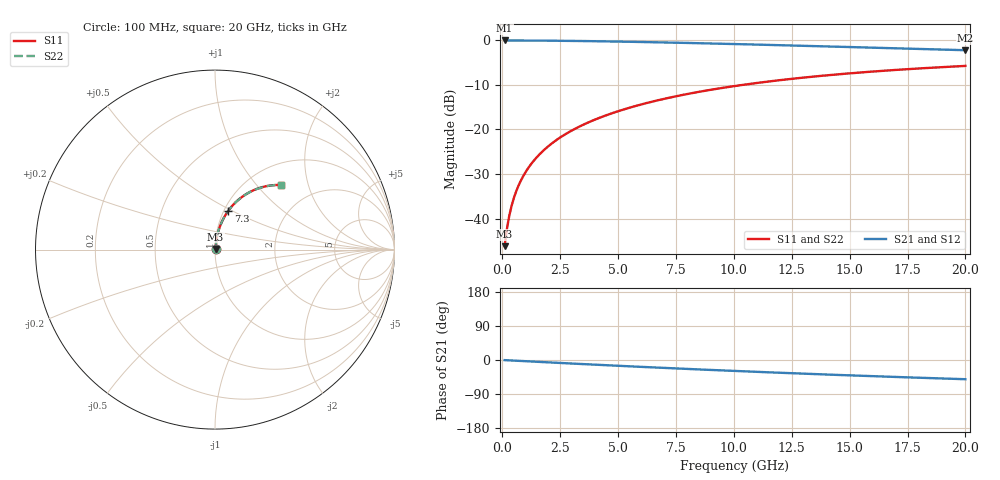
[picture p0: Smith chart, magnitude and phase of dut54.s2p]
! Touchstone file exported from HFSS 2024.1.0
!  File:  C:/UserFiles/LocalFiles/RDL_TSV_Batchsim/temp_RDL_top_54_1778681469.aedt
!  Generated:  10:13:28 PM May 13, 2026
!  Design:  RDL_top
!  Project:  temp_RDL_top_54_1778681469
!  Setup:  Setup1
!  Solution:  Sweep
! Variables:
!  dtsv = 10.80580581um
!  hbump = 3um
!  htsv = 61.1um
!  ldown = 100um
!  lrdl = 693.15um
!  p = 40
!  p1 = 55.35um
!  rhole = 1um
!  t = 450um
!  tdown = 3.915915916um
!  trdl = 4.98um
!  wdown = 15.38538539um
!  wrdl = 14.21um
# GHz S MA R 50.000000
! Terminal data exported
! Port[1] = Box2_T1
! Port[2] = Box2_T2
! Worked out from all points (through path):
!   200 points, 100 MHz to 20 GHz, reference 50 ohm
!   highest |S21| = -0.03 dB at 100 MHz (marker M1); lowest = -2.2 dB at 20 GHz (marker M2)
!   group delay of S21, straight-line fit = 7.02 ps
!   lowest |S11| = -46.2 dB at 100 MHz (marker M3), VSWR 1.01, Z = 50.4 + j0.34 ohm
!   |S11| at or under -10 dB: start of sweep to 10.39 GHz
!   |S22| runs from -46.2 to -5.7 dB; largest |S21 - S12| = 1e-14
!   S11 on the Smith chart (normalised r, x): 100 MHz: 1.01, +0.01; 7.3 GHz: 1.05, +0.48; 20 GHz: 1.39, +1.37
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0.1  0.004893 43.7  0.9965 -0.3  0.9965 -0.3  0.004893 43.7
! Gamma 0 0 0 0
! Port Impedance 50 0 50 0
0.2  0.00765 61.4  0.9963 -0.6  0.9963 -0.6  0.00765 61.4
0.3  0.01071 69.0  0.9962 -1.0  0.9962 -1.0  0.01071 69.0
0.4  0.01384 73.1  0.996 -1.3  0.996 -1.3  0.01384 73.1
0.5  0.017 75.7  0.9958 -1.6  0.9958 -1.6  0.017 75.7
0.6  0.02018 77.4  0.9957 -1.9  0.9957 -1.9  0.02018 77.4
0.8  0.02657 79.4  0.9952 -2.5  0.9952 -2.5  0.02657 79.4
1.1  0.0362 80.9  0.9945 -3.5  0.9945 -3.5  0.0362 80.9
1.5  0.04907 81.5  0.9931 -4.7  0.9931 -4.7  0.04907 81.5
1.8  0.05873 81.5  0.9919 -5.7  0.9919 -5.7  0.05873 81.5
2.1  0.06837 81.3  0.9905 -6.6  0.9905 -6.6  0.06837 81.3
2.7  0.08759 80.5  0.987 -8.4  0.987 -8.4  0.08759 80.5
3.5  0.113 79.2  0.9814 -10.8  0.9814 -10.8  0.113 79.2
4.2  0.1351 77.8  0.9756 -12.9  0.9756 -12.9  0.1351 77.8
5  0.16 76.1  0.9681 -15.3  0.9681 -15.3  0.16 76.1
6.8  0.2147 72.2  0.9488 -20.4  0.9488 -20.4  0.2147 72.2
7.3  0.2296 71.1  0.9429 -21.7  0.9429 -21.7  0.2295 71.0
8.6  0.2672 68.1  0.9269 -25.2  0.9269 -25.2  0.2671 68.1
10.1  0.3085 64.7  0.9074 -29.0  0.9074 -29.0  0.3085 64.7
13.4  0.3907 57.3  0.8625 -37.0  0.8625 -37.0  0.3907 57.3
16.7  0.4597 50.5  0.8174 -44.2  0.8174 -44.2  0.4596 50.5
20  0.516 44.2  0.7745 -50.7  0.7745 -50.7  0.5159 44.2
